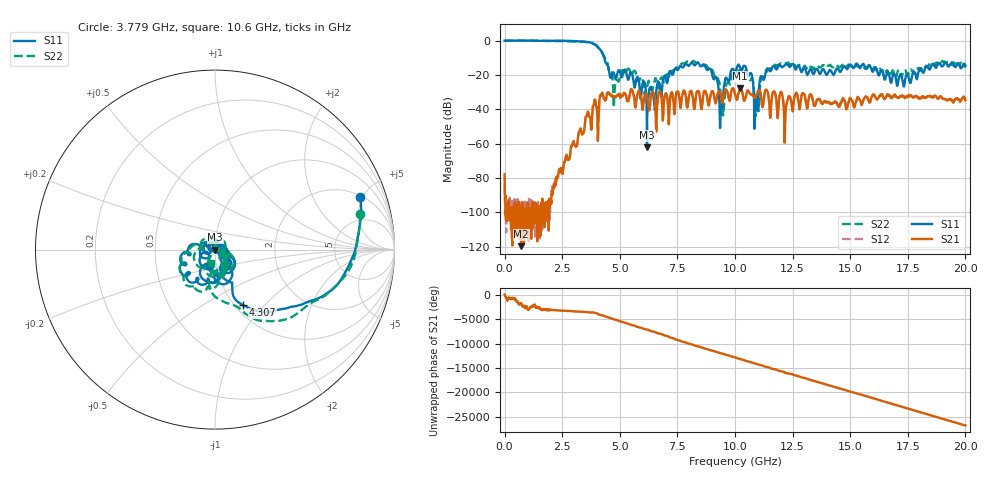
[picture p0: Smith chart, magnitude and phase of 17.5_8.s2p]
#  HZ  S  RI  R  50.00
! Rohde & Schwarz Vector Network Analyzer
! Rohde-Schwarz,ZNB20-2Port,1311601062102128,3.60
! Created: UTC 4/29/2024, 2:59:09 PM
! freq[Hz]  re:S11  im:S11  re:S21  im:S21  re:S12  im:S12  re:S22  im:S22
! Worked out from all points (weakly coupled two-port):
!   2007 points, 100 kHz to 20 GHz, reference 50 ohm
!   highest |S21| = -27.64 dB at 10.23 GHz (marker M1); lowest = -119.8 dB at 717.9 MHz (marker M2)
!   lowest |S11| = -62.2 dB at 6.182 GHz (marker M3), VSWR 1.00, Z = 50 - j0.0652 ohm
!   |S11| at or under -10 dB: 4.326 GHz to end of sweep
!   |S22| runs from -44.4 to 0.1 dB; largest |S21 - S12| = 0.002
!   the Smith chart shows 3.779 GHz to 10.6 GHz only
!   S11 on the Smith chart (normalised r, x): 3.779 GHz: 2.08, +4.77; 4.307 GHz: 1.09, -0.76; 10.6 GHz: 0.92, -0.17
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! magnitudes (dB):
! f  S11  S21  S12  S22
! 100 kHz  0.0  -77.9  -84.1  0.1
! 717.9 MHz  0.1  -119.8  -98.8  0.0
! 2.223 GHz  -0.1  -80.4  -82.2  -0.3
! 3.34 GHz  -0.6  -53.9  -53.6  -0.6
! 3.779 GHz  -1.3  -49.8  -50.1  -1.6
! 4.307 GHz  -9.2  -33.7  -34.0  -9.2
! 4.776 GHz  -20.7  -32.4  -32.4  -28.9
! 5.354 GHz  -22.8  -35.3  -35.2  -16.3
! 6.182 GHz  -62.2  -32.0  -32.0  -27.4
! 6.67 GHz  -23.8  -32.0  -32.0  -27.2
! 8.634 GHz  -13.9  -30.9  -30.9  -14.5
! 9.192 GHz  -21.6  -34.6  -34.6  -22.5
! 9.402 GHz  -40.3  -33.4  -33.4  -36.5
! 10 GHz  -18.7  -31.1  -31.1  -19.3
! 10.23 GHz  -15.8  -27.6  -27.7  -16.8
! 10.6 GHz  -20.3  -29.7  -29.7  -22.0
! 10.92 GHz  -33.6  -32.4  -32.4  -34.4
! 11.42 GHz  -16.2  -29.9  -29.9  -16.8
! 12.18 GHz  -14.2  -44.0  -44.1  -13.5
! 13.34 GHz  -18.0  -32.8  -32.8  -15.3
! 16.67 GHz  -19.1  -31.8  -31.8  -20.5
! 20 GHz  -14.6  -34.8  -34.8  -14.4
